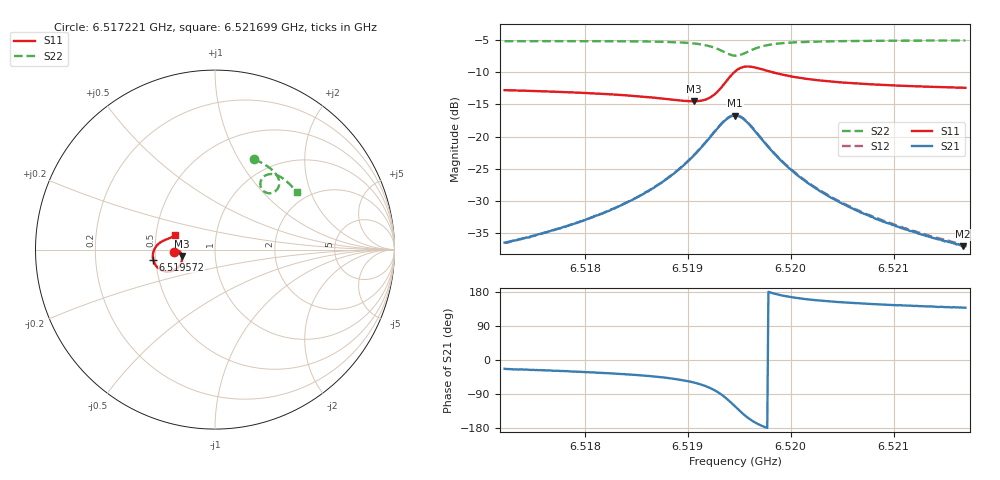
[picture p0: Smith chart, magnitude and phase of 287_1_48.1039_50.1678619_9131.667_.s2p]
#  HZ  S  RI  R  50.00
! Rohde & Schwarz Vector Network Analyzer
! Rohde-Schwarz,ZNB20-2Port,1311601062101988,3.16
! Created: UTC 12/23/2023, 4:03:22 AM
! freq[Hz]  re:S11  im:S11  re:S21  im:S21  re:S12  im:S12  re:S22  im:S22
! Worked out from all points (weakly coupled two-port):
!   401 points, 6.517221 GHz to 6.521699 GHz, reference 50 ohm
!   highest |S21| = -16.74 dB at 6.51946 GHz (marker M1); lowest = -37.0 dB at 6.521676 GHz (marker M2)
!   lowest |S11| = -14.5 dB at 6.519057 GHz (marker M3), VSWR 1.46, Z = 34.4 - j2.51 ohm
!   |S11| at or under -10 dB: start of sweep to 6.519454 GHz; 6.519819 GHz to end of sweep
!   |S22| runs from -7.5 to -5.1 dB; largest |S21 - S12| = 0.0044
!   S11 on the Smith chart (normalised r, x): 6.517221 GHz: 0.63, -0.02; 6.519572 GHz: 0.48, -0.06; 6.521699 GHz: 0.63, +0.10
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6.5172213e9  -0.2288 -0.0125  0.0139 -0.00594  0.0139 -0.00547  0.219 0.5031
6.517613e9  -0.2239 -0.00709  0.016 -0.00834  0.0163 -0.00777  0.2478 0.4899
6.5179712e9  -0.2184 -0.00343  0.0189 -0.0115  0.0192 -0.0109  0.2742 0.4755
6.5183853e9  -0.2093 -0.0024  0.0241 -0.0183  0.0246 -0.0177  0.3053 0.4547
6.5187211e9  -0.1984 -0.00808  0.0303 -0.0302  0.0314 -0.0292  0.3316 0.431
6.518889e9  -0.1913 -0.0169  0.0341 -0.0413  0.0355 -0.0404  0.3448 0.414
6.5190569e9  -0.1844 -0.0352  0.0364 -0.061  0.0385 -0.0602  0.3558 0.3893
6.5191577e9  -0.1838 -0.0551  0.0334 -0.0801  0.0362 -0.0797  0.3581 0.3683
6.519236e9  -0.1901 -0.077  0.0244 -0.1  0.0276 -0.1  0.3534 0.3476
6.5193703e9  -0.2372 -0.1187  -0.0237 -0.1329  -0.02 -0.1347  0.3162 0.3154
6.5194599e9  -0.2981 -0.1147  -0.0779 -0.1229  -0.075 -0.1262  0.2735 0.3237
6.5195159e9  -0.3296 -0.0889  -0.1031 -0.0969  -0.1012 -0.1008  0.2562 0.3463
6.5195718e9  -0.3449 -0.0552  -0.1129 -0.0658  -0.1119 -0.0697  0.2529 0.3719
6.5196838e9  -0.3387 -0.000245  -0.1013 -0.0196  -0.1017 -0.0227  0.2725 0.4072
6.5197957e9  -0.3186 0.0285  -0.0809 0.00171  -0.0816 -0.000629  0.2983 0.4196
6.519986e9  -0.2908 0.0484  -0.0555 0.0129  -0.0564 0.0116  0.3324 0.4185
6.5202098e9  -0.2708 0.0569  -0.0387 0.0151  -0.0395 0.014  0.3595 0.4081
6.5205344e9  -0.2538 0.0632  -0.0259 0.014  -0.0267 0.0133  0.3879 0.3895
6.5209598e9  -0.2404 0.0692  -0.0176 0.012  -0.0181 0.0117  0.4161 0.364
6.521262e9  -0.2335 0.0734  -0.0139 0.0108  -0.0146 0.0105  0.4335 0.3457
6.5216761e9  -0.2258 0.0788  -0.0105 0.00945  -0.0111 0.00944  0.4546 0.32
6.5216985e9  -0.2254 0.0791  -0.0105 0.0095  -0.011 0.00927  0.4556 0.3184
